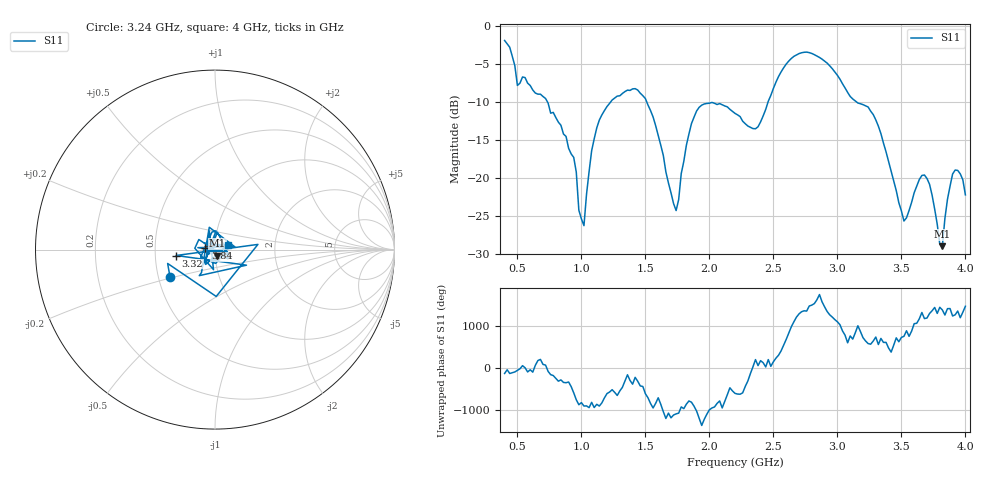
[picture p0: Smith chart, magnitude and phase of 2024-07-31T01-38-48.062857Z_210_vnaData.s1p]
!Created with skrf (http://scikit-rf.org).
# Hz S RI R 50.0
!freq ReS11 ImS11
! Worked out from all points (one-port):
!   181 points, 400 MHz to 4 GHz, reference 50 ohm
!   lowest |S11| = -29.0 dB at 3.82 GHz (marker M1), VSWR 1.07, Z = 51.3 - j3.38 ohm
!   |S11| at or under -10 dB: 734.8 MHz to 1.229 GHz (493.8 MHz wide, 50.3 % of centre); 1.51 GHz to 2.458 GHz (947.8 MHz wide, 47.8 % of centre); 3.15 GHz to end of sweep
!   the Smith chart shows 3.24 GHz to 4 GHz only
!   S11 on the Smith chart (normalised r, x): 3.24 GHz: 0.58, -0.19; 3.32 GHz: 0.64, -0.04; 3.84 GHz: 0.90, +0.01; 4 GHz: 1.16, +0.06
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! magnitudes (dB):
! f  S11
! 400 MHz  -1.9
! 500 MHz  -7.8
! 720 MHz  -9.5
! 860 MHz  -14.2
! 940 MHz  -17.3
! 980 MHz  -24.2
! 1.02 GHz  -26.3
! 1.12 GHz  -13.4
! 1.3 GHz  -9.2
! 1.5 GHz  -9.6
! 1.72 GHz  -23.4
! 1.76 GHz  -22.8
! 1.82 GHz  -15.7
! 1.9 GHz  -11.2
! 2.2 GHz  -11.5
! 2.38 GHz  -13.3
! 2.66 GHz  -4.0
! 2.88 GHz  -4.4
! 3.1 GHz  -9.3
! 3.24 GHz  -10.7
! 3.32 GHz  -13.2
! 3.52 GHz  -25.7
! 3.56 GHz  -24.3
! 3.68 GHz  -19.6
! 3.82 GHz  -29.0
! 3.84 GHz  -25.3
! 3.92 GHz  -19.0
! 4 GHz  -22.2
